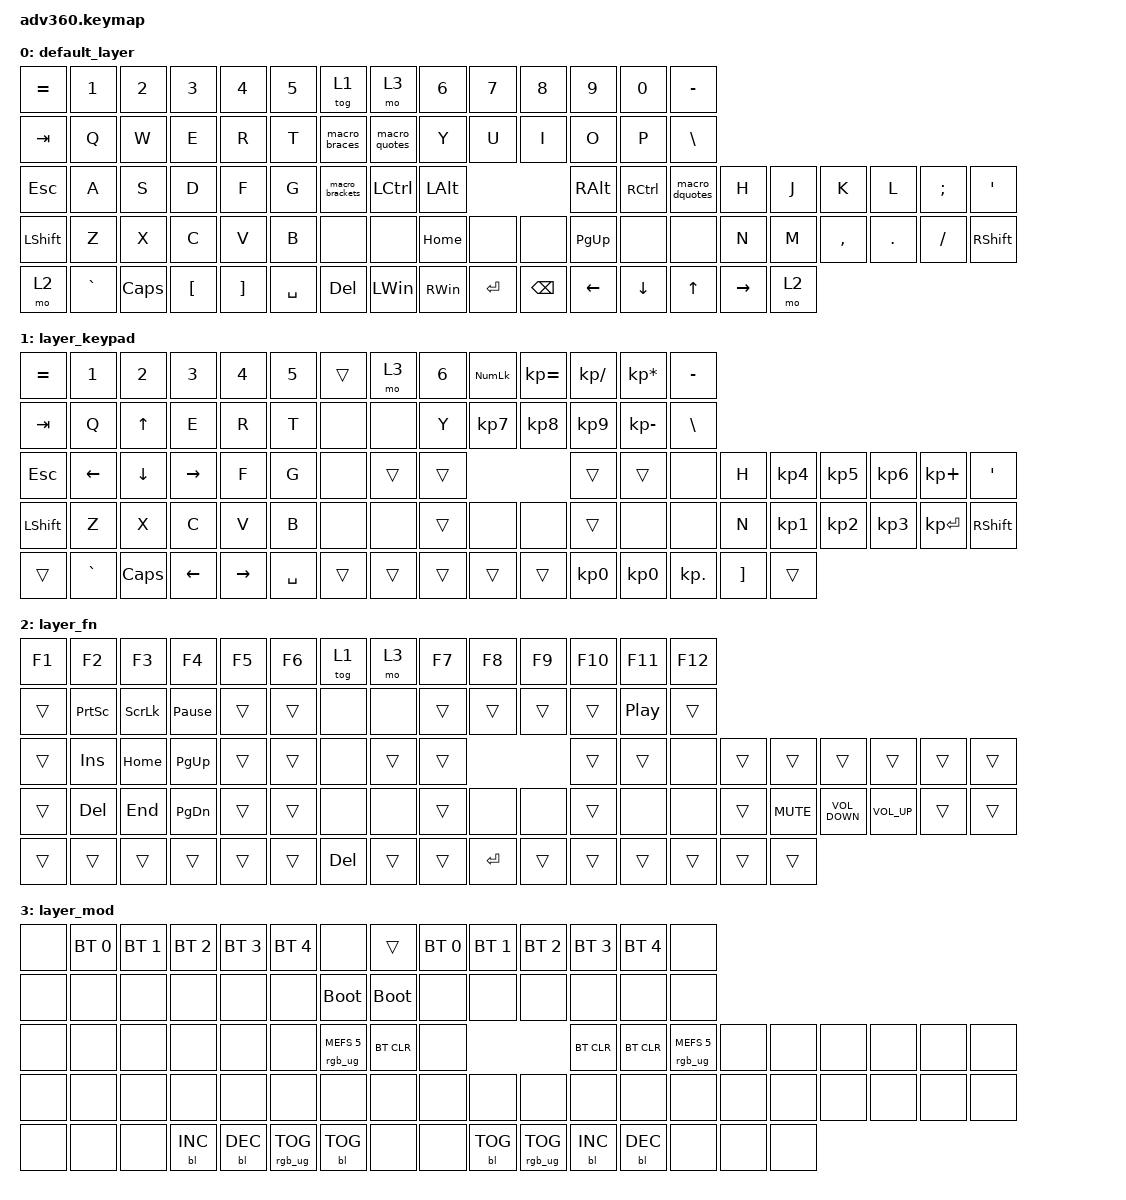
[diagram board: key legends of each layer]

/*
 * Copyright (c) 2020 The ZMK Contributors
 *
 * SPDX-License-Identifier: MIT
 */


/* THIS FILE WAS GENERATED!
 *
 * This file was generated automatically. You may or may not want to
 * edit it directly.
 */

#include <behaviors.dtsi>
#include <dt-bindings/zmk/keys.h>
#include <dt-bindings/zmk/bt.h>
#include <dt-bindings/zmk/rgb.h>
#include <dt-bindings/zmk/backlight.h>

/ {
  behaviors {
    #include "macros.dtsi"

    hm: homerow_mods {
        compatible = "zmk,behavior-hold-tap";
        label = "HOMEROW_MODS";
        #binding-cells = <2>;
        tapping-term-ms = <200>;
        quick_tap_ms = <175>;
        flavor = "tap-preferred";
        bindings = <&kp>, <&kp>;
    };
  };

    keymap {
        compatible = "zmk,keymap";


        default_layer {
            bindings = <
 &kp EQUAL     &kp N1    &kp N2            &kp N3             &kp N4     &kp N5                     &tog 1          &mo 3         &kp N6     &kp N7         &kp N8         &kp N9     &kp N0       &kp MINUS
   &kp TAB      &kp Q     &kp W             &kp E              &kp R      &kp T              &macro_braces  &macro_quotes          &kp Y      &kp U          &kp I          &kp O      &kp P        &kp BSLH
   &kp ESC      &kp A     &kp S             &kp D              &kp F      &kp G            &macro_brackets      &kp LCTRL   &kp LEFT_ALT                            &kp RIGHT_ALT  &kp RCTRL  &macro_dquotes      &kp H   &kp J      &kp K    &kp L  &kp SEMI    &kp SQT
 &kp LSHFT      &kp Z     &kp X             &kp C              &kp V      &kp B                      &none          &none       &kp HOME      &none          &none      &kp PG_UP      &none           &none      &kp N   &kp M  &kp COMMA  &kp DOT  &kp FSLH  &kp RSHFT
     &mo 2  &kp GRAVE  &kp CAPS  &kp LEFT_BRACKET  &kp RIGHT_BRACKET  &kp SPACE                    &kp DEL   &kp LEFT_WIN  &kp RIGHT_WIN  &kp ENTER  &kp BACKSPACE       &kp LEFT   &kp DOWN          &kp UP  &kp RIGHT   &mo 2
            >;
        };

        layer_keypad {
            bindings = <
 &kp EQUAL     &kp N1        &kp N2     &kp N3     &kp N4     &kp N5            &trans   &mo 3  &kp N6  &kp KP_NUM  &kp KP_EQUAL  &kp KP_DIVIDE  &kp KP_MULTIPLY   &kp MINUS
   &kp TAB      &kp Q  &kp UP_ARROW      &kp E      &kp R      &kp T             &none   &none   &kp Y   &kp KP_N7     &kp KP_N8      &kp KP_N9     &kp KP_MINUS    &kp BSLH
   &kp ESC   &kp LEFT      &kp DOWN  &kp RIGHT      &kp F      &kp G             &none  &trans  &trans                                   &trans           &trans       &none     &kp H  &kp KP_N4  &kp KP_N5  &kp KP_N6   &kp KP_PLUS    &kp SQT
 &kp LSHFT      &kp Z         &kp X      &kp C      &kp V      &kp B             &none   &none  &trans       &none         &none         &trans            &none       &none     &kp N  &kp KP_N1  &kp KP_N2  &kp KP_N3  &kp KP_ENTER  &kp RSHFT
    &trans  &kp GRAVE      &kp CAPS   &kp LEFT  &kp RIGHT  &kp SPACE            &trans  &trans  &trans      &trans        &trans      &kp KP_N0  &kp KP_NUMBER_0  &kp KP_DOT  &kp RBKT     &trans
            >;
        };

        layer_fn {
            bindings = <
 &kp F1           &kp F2          &kp F3           &kp F4  &kp F5  &kp F6                &tog 1   &mo 3  &kp F7     &kp F8  &kp F9  &kp F10           &kp F11  &kp F12
 &trans  &kp PRINTSCREEN  &kp SCROLLLOCK  &kp PAUSE_BREAK  &trans  &trans                 &none   &none  &trans     &trans  &trans   &trans  &kp C_PLAY_PAUSE   &trans
 &trans       &kp INSERT        &kp HOME      &kp PAGE_UP  &trans  &trans                 &none  &trans  &trans                      &trans            &trans    &none  &trans      &trans             &trans        &trans  &trans  &trans
 &trans          &kp DEL         &kp END        &kp PG_DN  &trans  &trans                 &none   &none  &trans      &none   &none   &trans             &none    &none  &trans  &kp C_MUTE  &kp C_VOLUME_DOWN  &kp C_VOL_UP  &trans  &trans
 &trans           &trans          &trans           &trans  &trans  &trans            &kp DELETE  &trans  &trans  &kp ENTER  &trans   &trans            &trans   &trans  &trans      &trans
            >;
        };

        layer_mod {
            bindings = <
  &none  &bt BT_SEL 0  &bt BT_SEL 1  &bt BT_SEL 2  &bt BT_SEL 3     &bt BT_SEL 4                             &none       &trans  &bt BT_SEL 0  &bt BT_SEL 1     &bt BT_SEL 2  &bt BT_SEL 3  &bt BT_SEL 4                   &none
  &none         &none         &none         &none         &none            &none                       &bootloader  &bootloader         &none         &none            &none         &none         &none                   &none
  &none         &none         &none         &none         &none            &none            &rgb_ug RGB_MEFS_CMD 5   &bt BT_CLR         &none                                   &bt BT_CLR    &bt BT_CLR  &rgb_ug RGB_MEFS_CMD 5   &none   &none   &none   &none   &none   &none
  &none         &none         &none         &none         &none            &none                             &none        &none         &none         &none            &none         &none         &none                   &none   &none   &none   &none   &none   &none   &none
  &none         &none         &none    &bl BL_INC    &bl BL_DEC  &rgb_ug RGB_TOG                        &bl BL_TOG        &none         &none    &bl BL_TOG  &rgb_ug RGB_TOG    &bl BL_INC    &bl BL_DEC                   &none   &none   &none
            >;
        };

    };
};
